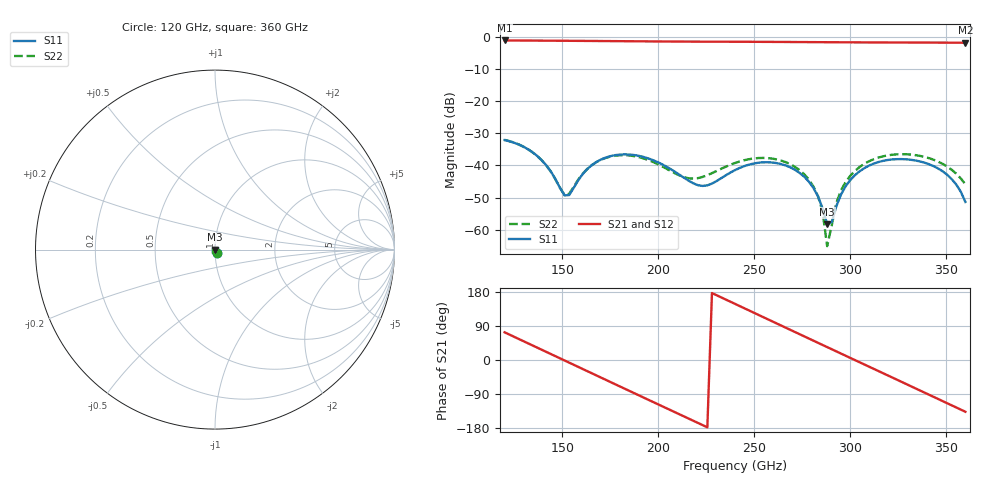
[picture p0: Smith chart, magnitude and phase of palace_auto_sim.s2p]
#  GHZ S DB R 50
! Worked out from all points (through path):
!   101 points, 120 GHz to 360 GHz, reference 50 ohm
!   highest |S21| = -1.13 dB at 120 GHz (marker M1); lowest = -1.8 dB at 360 GHz (marker M2)
!   group delay of S21, straight-line fit = 6.59 ps
!   lowest |S11| = -58.3 dB at 288 GHz (marker M3), VSWR 1.00, Z = 49.9 - j0.0225 ohm
!   |S11| at or under -10 dB: start of sweep to end of sweep
!   |S22| runs from -65.1 to -32.0 dB; largest |S21 - S12| = 1e-13
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120  -32.11 -60.1  -1.13 73.0  -1.13 73.0  -32.05 -60.3
136.8  -36.94 -92.0  -1.18 33.1  -1.18 33.1  -36.97 -91.5
151.2  -49.30 -64.5  -1.23 -1.2  -1.23 -1.2  -49.09 -61.5
160.8  -42.58 -6.1  -1.26 -24.0  -1.26 -24.0  -42.47 -6.0
182.4  -36.55 -37.3  -1.36 -75.4  -1.36 -75.4  -36.80 -35.5
201.6  -39.51 -65.4  -1.44 -120.9  -1.44 -120.9  -40.14 -57.8
223.2  -46.36 -38.8  -1.50 -172.0  -1.50 -172.0  -43.55 -23.2
240  -41.44 -14.5  -1.53 148.1  -1.53 148.1  -39.23 -17.6
261.6  -39.25 -51.0  -1.58 96.7  -1.58 96.7  -38.10 -53.9
273.6  -42.28 -80.7  -1.62 68.2  -1.62 68.2  -41.42 -81.1
280.8  -46.93 -103.5  -1.65 51.1  -1.65 51.1  -46.48 -99.8
285.6  -53.31 -131.2  -1.66 39.7  -1.66 39.7  -54.36 -118.3
288  -58.26 -169.4  -1.67 34.1  -1.67 34.1  -65.09 -157.6
290.4  -57.58 122.6  -1.68 28.4  -1.68 28.4  -58.58 82.0
292.8  -52.64 89.3  -1.69 22.7  -1.69 22.7  -51.59 65.3
297.6  -46.48 63.2  -1.70 11.3  -1.70 11.3  -45.16 49.2
307.2  -40.89 33.7  -1.73 -11.4  -1.73 -11.4  -39.55 24.2
321.6  -38.14 -1.9  -1.76 -45.5  -1.76 -45.5  -36.68 -10.4
333.6  -38.41 -28.9  -1.77 -73.9  -1.77 -73.9  -36.75 -38.3
345.6  -40.87 -56.1  -1.80 -102.4  -1.80 -102.4  -38.74 -67.3
355.2  -45.90 -80.2  -1.82 -125.2  -1.82 -125.2  -42.52 -94.6
360  -51.35 -95.8  -1.84 -136.6  -1.84 -136.6  -45.87 -113.1
